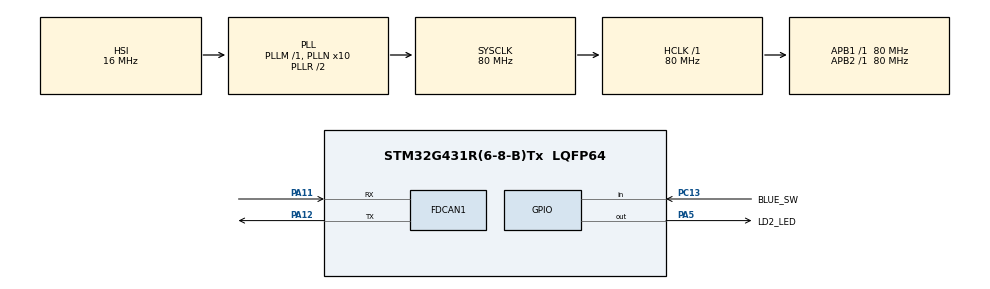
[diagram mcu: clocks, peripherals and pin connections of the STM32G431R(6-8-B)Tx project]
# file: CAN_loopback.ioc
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FDCAN1.AutoRetransmission=ENABLE
FDCAN1.ClockDivider=FDCAN_CLOCK_DIV1
FDCAN1.DataTimeSeg1=13
FDCAN1.DataTimeSeg2=2
FDCAN1.Mode=FDCAN_MODE_NORMAL
FDCAN1.NominalPrescaler=10
FDCAN1.NominalTimeSeg1=13
Mcu.Family=STM32G4
Mcu.Name=STM32G431R(6-8-B)Tx
Mcu.Package=LQFP64
NVIC.FDCAN1_IT0_IRQn=true\:0\:0\:false\:false\:true\:true\:true
NVIC.PriorityGroup=NVIC_PRIORITYGROUP_4
PA11.Mode=FDCANMaster
PA11.Signal=FDCAN1_RX
PA12.Mode=FDCANMaster
PA12.Signal=FDCAN1_TX
PA13.Mode=Serial_Wire
PA13.Signal=SYS_JTMS-SWDIO
PA14.Mode=Serial_Wire
PA14.Signal=SYS_JTCK-SWCLK
PA5.GPIO_Label=LD2_LED
PA5.Signal=GPIO_Output
PC13.GPIO_Label=BLUE_SW
PC13.Signal=GPIO_Input
ProjectManager.HeapSize=0x200
ProjectManager.StackSize=0x400
ProjectManager.TargetToolchain=STM32CubeIDE
RCC.ADC12Freq_Value=80000000
RCC.AHBFreq_Value=80000000
RCC.APB1Freq_Value=80000000
RCC.APB1TimFreq_Value=80000000
RCC.APB2Freq_Value=80000000
RCC.APB2TimFreq_Value=80000000
RCC.CortexFreq_Value=80000000
RCC.EXTERNAL_CLOCK_VALUE=12288000
RCC.HCLKFreq_Value=80000000
RCC.HSE_VALUE=24000000
RCC.HSI48_VALUE=48000000
RCC.HSI_VALUE=16000000
RCC.LSE_VALUE=32768
RCC.PLLN=10
RCC.RTCClockSelection=RCC_RTCCLKSOURCE_LSE
RCC.SYSCLKFreq_VALUE=80000000
RCC.SYSCLKSource=RCC_SYSCLKSOURCE_PLLCLK
RCC.USBFreq_Value=80000000
RCC.VCOOutputFreq_Value=160000000
VP_SYS_VS_DBSignals.Mode=DisableDeadBatterySignals
board=NUCLEO-G431RB

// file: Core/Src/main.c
/* USER CODE BEGIN Header */
/**
  ******************************************************************************
  * @file           : main.c
  * @brief          : Main program body
  ******************************************************************************
  * @attention
  *
  * <h2><center>&copy; Copyright (c) 2020 STMicroelectronics.
  * All rights reserved.</center></h2>
  *
  * This software component is licensed by ST under BSD 3-Clause license,
  * the "License"; You may not use this file except in compliance with the
  * License. You may obtain a copy of the License at:
  *                        opensource.org/licenses/BSD-3-Clause
  *
  ******************************************************************************
  */
/* USER CODE END Header */
#include "main.h"

/* USER CODE BEGIN Includes */
//#include "common.h"
#include "stm32g4xx_hal_fdcan.h"

#define 	A_NODE
/* USER CODE END Includes */

FDCAN_HandleTypeDef hfdcan1;

/* USER CODE BEGIN PV */
#define TX_FAST_TIMEOUT 	10
#define RX_FAST_TIMEOUT 	10
#define FDCAN_INTR_RESET 	RESET
#define FDCAN_INTR_SET		SET

_Bool isLedOn = true;
uint8_t count = 0;
char string[10];
volatile int32_t ITM_RxBuffer;

 uint32_t exist_or_not=2;

 GPIO_PinState  state, prev_state;

 HAL_StatusTypeDef Hal_Error_Code;

 uint32_t Tickstart;

/* USER CODE END PV */

void SystemClock_Config(void);
static void MX_GPIO_Init(void);
static void MX_FDCAN1_Init(void);
/* USER CODE BEGIN PFP */

void FDCAN_COMM_config_a(void);
void FDCAN_TX_Config_a(void);
void FDCAN_RX_Config_a(void);
void FDCAN_TX_a(FDCAN_HandleTypeDef *hfdcan);
void FDCAN_RX_a(void);
void Wait_Tx_Timeout(FDCAN_HandleTypeDef *hfdcan, uint32_t set_timeout);
int8_t Wait_Rx_Timeout(FDCAN_HandleTypeDef *hfdcan, uint32_t set_timeout);
//void HAL_FDCAN_RxFifo0Callback(FDCAN_HandleTypeDef *hfdcan, uint32_t RxFifo0ITs);

/* USER CODE END PFP */

/* USER CODE BEGIN 0 */
//uint8_t ubKeyNumber = 0x0;
FDCAN_RxHeaderTypeDef RxHeader;
uint8_t RxData[8];
FDCAN_TxHeaderTypeDef TxHeader;
uint8_t TxData[8];
HAL_StatusTypeDef FDCANErrCode;

/* USER CODE END 0 */

int main(void)
{

  /* MCU Configuration--------------------------------------------------------*/

  /* Reset of all peripherals, Initializes the Flash interface and the Systick. */
  HAL_Init();

  /* Configure the system clock */
  SystemClock_Config();

  /* Initialize all configured peripherals */
  MX_GPIO_Init();
  MX_FDCAN1_Init();

  /* Infinite loop */
  /* USER CODE BEGIN WHILE */
  while (1)
  {
	  HAL_GPIO_TogglePin(LD2_LED_GPIO_Port, LD2_LED_Pin);
	  isLedOn = !isLedOn;
	  count++;
	  if (count > 255)
		  count = 0;
	  printf("Hello world count = %d\n", (int)count);
	  HAL_Delay(1000);
    /* USER CODE END WHILE */

    /* USER CODE BEGIN 3 */
	  state=HAL_GPIO_ReadPin(BLUE_SW_GPIO_Port, BLUE_SW_Pin); //GPIO_PIN_SET
	  if ( prev_state ==GPIO_PIN_RESET && state == GPIO_PIN_SET)
	  {
	  	printf("Blue SW ON - Activate transmission through FDCAN\n");

	  }
	  prev_state=state;
  }
  /* USER CODE END 3 */
}

void SystemClock_Config(void)
{
  RCC_OscInitTypeDef RCC_OscInitStruct = {0};
  RCC_ClkInitTypeDef RCC_ClkInitStruct = {0};
  RCC_PeriphCLKInitTypeDef PeriphClkInit = {0};

  /** Configure the main internal regulator output voltage
  */
  HAL_PWREx_ControlVoltageScaling(PWR_REGULATOR_VOLTAGE_SCALE1);
  /** Initializes the RCC Oscillators according to the specified parameters
  * in the RCC_OscInitTypeDef structure.
  */
  RCC_OscInitStruct.OscillatorType = RCC_OSCILLATORTYPE_HSI;
  RCC_OscInitStruct.HSIState = RCC_HSI_ON;
  RCC_OscInitStruct.HSICalibrationValue = RCC_HSICALIBRATION_DEFAULT;
  RCC_OscInitStruct.PLL.PLLState = RCC_PLL_ON;
  RCC_OscInitStruct.PLL.PLLSource = RCC_PLLSOURCE_HSI;
  RCC_OscInitStruct.PLL.PLLM = RCC_PLLM_DIV1;
  RCC_OscInitStruct.PLL.PLLN = 10;
  RCC_OscInitStruct.PLL.PLLP = RCC_PLLP_DIV2;
  RCC_OscInitStruct.PLL.PLLQ = RCC_PLLQ_DIV2;
  RCC_OscInitStruct.PLL.PLLR = RCC_PLLR_DIV2;
  if (HAL_RCC_OscConfig(&RCC_OscInitStruct) != HAL_OK)
  {
    Error_Handler();
  }
  /** Initializes the CPU, AHB and APB buses clocks
  */
  RCC_ClkInitStruct.ClockType = RCC_CLOCKTYPE_HCLK|RCC_CLOCKTYPE_SYSCLK
                              |RCC_CLOCKTYPE_PCLK1|RCC_CLOCKTYPE_PCLK2;
  RCC_ClkInitStruct.SYSCLKSource = RCC_SYSCLKSOURCE_PLLCLK;
  RCC_ClkInitStruct.AHBCLKDivider = RCC_SYSCLK_DIV1;
  RCC_ClkInitStruct.APB1CLKDivider = RCC_HCLK_DIV1;
  RCC_ClkInitStruct.APB2CLKDivider = RCC_HCLK_DIV1;

  if (HAL_RCC_ClockConfig(&RCC_ClkInitStruct, FLASH_LATENCY_2) != HAL_OK)
  {
    Error_Handler();
  }
  /** Initializes the peripherals clocks
  */
  PeriphClkInit.PeriphClockSelection = RCC_PERIPHCLK_FDCAN;
  PeriphClkInit.FdcanClockSelection = RCC_FDCANCLKSOURCE_PCLK1;
  if (HAL_RCCEx_PeriphCLKConfig(&PeriphClkInit) != HAL_OK)
  {
    Error_Handler();
  }
}

static void MX_FDCAN1_Init(void)
{

  /* USER CODE BEGIN FDCAN1_Init 0 */
	/* Bit time configuration:
		 ************************
	            Bit time parameter         |   Nominal    |   Data
	            ---------------------------|--------------|--------------
	            fdcan_ker_ck               | 80 MHz       | 80 MHz
	            Time_quantum (tq)          | 16ns      	  | 16 ns
	            Prescaler                  |  10          |  10
	            Synchronization_segment    |  1 tq        |  1 tq
	            Propagation_segment        | 19 tq        |  5 tq
	            Phase_segment_1            | 13 tq        |  13 tq
	            Phase_segment_2            | 2 tq         |  2 tq
	            Synchronization_Jump_width | 1 tq         |  1 tq

	            Bit_rate                   |  500kBit/s    |  500 kBit/s
		 */

  /* USER CODE END FDCAN1_Init 0 */

  hfdcan1.Instance = FDCAN1;
  hfdcan1.Init.ClockDivider = FDCAN_CLOCK_DIV1;
  hfdcan1.Init.FrameFormat = FDCAN_FRAME_CLASSIC;
  hfdcan1.Init.Mode = FDCAN_MODE_NORMAL;
  hfdcan1.Init.AutoRetransmission = ENABLE;
  hfdcan1.Init.TransmitPause = DISABLE;
  hfdcan1.Init.ProtocolException = DISABLE;
  hfdcan1.Init.NominalPrescaler = 10;
  hfdcan1.Init.NominalSyncJumpWidth = 1;
  hfdcan1.Init.NominalTimeSeg1 = 13;
  hfdcan1.Init.NominalTimeSeg2 = 2;
  hfdcan1.Init.DataPrescaler = 1;
  hfdcan1.Init.DataSyncJumpWidth = 1;
  hfdcan1.Init.DataTimeSeg1 = 13;
  hfdcan1.Init.DataTimeSeg2 = 2;
  hfdcan1.Init.StdFiltersNbr = 0;
  hfdcan1.Init.ExtFiltersNbr = 0;
  hfdcan1.Init.TxFifoQueueMode = FDCAN_TX_FIFO_OPERATION;
  if (HAL_FDCAN_Init(&hfdcan1) != HAL_OK)
  {
    Error_Handler();
  }
  /* USER CODE BEGIN FDCAN1_Init 2 */
  Hal_Error_Code = HAL_FDCAN_Init(&hfdcan1);
    if (Hal_Error_Code != HAL_OK)
    {
    	printf("HAL_FDCAN_Init() %d\n", (int)Hal_Error_Code);
    	Error_Handler();
    }

    printf("HAL_FDCAN_Init() OK\n");

    FDCAN_COMM_config_a();

  /* USER CODE END FDCAN1_Init 2 */

}

static void MX_GPIO_Init(void)
{
  GPIO_InitTypeDef GPIO_InitStruct = {0};

  /* GPIO Ports Clock Enable */
  __HAL_RCC_GPIOC_CLK_ENABLE();
  __HAL_RCC_GPIOA_CLK_ENABLE();

  /*Configure GPIO pin Output Level */
  HAL_GPIO_WritePin(LD2_LED_GPIO_Port, LD2_LED_Pin, GPIO_PIN_RESET);

  /*Configure GPIO pin : BLUE_SW_Pin */
  GPIO_InitStruct.Pin = BLUE_SW_Pin;
  GPIO_InitStruct.Mode = GPIO_MODE_INPUT;
  GPIO_InitStruct.Pull = GPIO_NOPULL;
  HAL_GPIO_Init(BLUE_SW_GPIO_Port, &GPIO_InitStruct);

  /*Configure GPIO pin : LD2_LED_Pin */
  GPIO_InitStruct.Pin = LD2_LED_Pin;
  GPIO_InitStruct.Mode = GPIO_MODE_OUTPUT_PP;
  GPIO_InitStruct.Pull = GPIO_NOPULL;
  GPIO_InitStruct.Speed = GPIO_SPEED_FREQ_LOW;
  HAL_GPIO_Init(LD2_LED_GPIO_Port, &GPIO_InitStruct);

}

/* USER CODE BEGIN 4 */
/* Interrupts from FIFO-0 and FDCAN-RX
 * Interrupt sources - (FDCAN_IT_RX_FIFO0_MESSAGE_LOST | FDCAN_IT_RX_FIFO0_FULL | FDCAN_IT_RX_FIFO0_NEW_MESSAGE)
 *
 */
void FDCAN_Setup_RX_InterruptL0(FDCAN_HandleTypeDef *hfdcan) {

	HAL_StatusTypeDef status;

	status = HAL_FDCAN_ConfigInterruptLines(hfdcan, FDCAN_IT_LIST_RX_FIFO0, FDCAN_INTERRUPT_LINE0);

	if (status!= HAL_OK) {
		printf("HAL_FDCAN_ConfigInterruptLines() %d\n", (int)status);
				Error_Handler();
	}

	printf("HAL_FDCAN_ConfigInterruptLines() Ok\n");

}

void FDCAN_Enable_RX_InterrptL0 (FDCAN_HandleTypeDef *hfdcan)
{

	FDCANErrCode = HAL_FDCAN_ActivateNotification(hfdcan, FDCAN_IT_RX_FIFO0_NEW_MESSAGE | FDCAN_IT_RX_FIFO0_FULL, FDCAN_RX_FIFO0 | FDCAN_RX_FIFO1 );
	if(FDCANErrCode != HAL_OK)
	{
		printf("HAL_FDCAN_ActivateNotification() %d\n", (int)Hal_Error_Code);
		Error_Handler();
	}

	printf("HAL_FDCAN_ActivateNotification() OK\n");
}

void FDCAN_COMM_config_a(void)
{

	FDCAN_RX_Config_a();

	//Setup FDCAN RX interrupt
//	FDCAN_Setup_RX_InterruptL0(&hfdcan1);

#if 0
	// Register callback HAL_FDCAN_RegisterCallback
		FDCANErrCode = HAL_FDCAN_RegisterCallback(&hfdcan1,FDCAN_IT_RX_FIFO0_NEW_MESSAGE, (void*)HAL_FDCAN_RxFifo0Callback);
		if(FDCANErrCode != HAL_OK)
		{
			printf("HAL_CAN_RegisterCallback() %d\n", (int)Hal_Error_Code);
			Error_Handler();
		}

		printf("HAL_CAN_RegisterCallback() OK\n");

#endif
	// Activate the FDCAN peripheral
	FDCANErrCode = HAL_FDCAN_Start(&hfdcan1);
	if(FDCANErrCode != HAL_OK)
	{
		printf("HAL_FDCAN_Start() %d\n", (int)Hal_Error_Code);
		Error_Handler();
	}

	printf("HAL_FDCAN_Start() OK\n");

	FDCAN_Enable_RX_InterrptL0 (&hfdcan1);

}

void FDCAN_RX_Config_a()
{

	FDCAN_FilterTypeDef sFilterConfig;

	sFilterConfig.IdType = FDCAN_STANDARD_ID;
	sFilterConfig.FilterIndex = 0;
	sFilterConfig.FilterType = FDCAN_FILTER_MASK;
	sFilterConfig.FilterConfig = FDCAN_FILTER_TO_RXFIFO0;
	sFilterConfig.FilterID1 = 0x321;   // Read back its own message
	sFilterConfig.FilterID2 = 0x7FF;   // Mask off the entire MASK 11-bit registry

	FDCANErrCode = HAL_FDCAN_ConfigFilter(&hfdcan1, &sFilterConfig);
	if(FDCANErrCode != HAL_OK)
	{
		printf("HAL_FDCAN_ConfigFilter() %d\n", (int)FDCANErrCode);
		Error_Handler();
	}

	printf("HAL_FDCAN_ConfigFilter() OK\n");

#if 0   // after running this code, it caused the external loopback failed
	FDCANErrCode = HAL_FDCAN_ConfigGlobalFilter(&hfdcan1, FDCAN_REJECT, FDCAN_REJECT, FDCAN_FILTER_REMOTE, FDCAN_FILTER_REMOTE);
	if(FDCANErrCode != HAL_OK)
	{
		printf("HAL_FDCAN_ConfigGlobalFilter() %d\n", (int)FDCANErrCode);
		Error_Handler();
	}
	printf("HAL_FDCAN_ConfigGlobalFilter() OK\n");
#endif
	// Proceed to call FDCAN_config_a()

}

void FDCAN_TX_Config_a(void)
{

	/* Prepare Tx Header */
	TxHeader.Identifier = 0x321;
	TxHeader.IdType = FDCAN_STANDARD_ID;
	TxHeader.TxFrameType = FDCAN_DATA_FRAME;
	TxHeader.DataLength = FDCAN_DLC_BYTES_1;
	TxHeader.ErrorStateIndicator = FDCAN_ESI_ACTIVE;
	TxHeader.BitRateSwitch = FDCAN_BRS_OFF;
	TxHeader.FDFormat = FDCAN_CLASSIC_CAN;
	TxHeader.TxEventFifoControl = FDCAN_NO_TX_EVENTS;
	TxHeader.MessageMarker = 0;

}

void FDCAN_TX_a(FDCAN_HandleTypeDef *hfdcan)
{

	/* Set the data to be transmitted */
	TxData[0] = 0xA5;
	TxData[1] = 0xAD;
	TxData[2] = 0xDE;
	TxData[3] = 0xAD;
	TxData[4] = 0xBE;
	TxData[5] = 0xEF;
	TxData[6] = 0xFA;
	TxData[7] = 0xCE;

	/* Start the Transmission process */
	FDCANErrCode = HAL_FDCAN_AddMessageToTxFifoQ(&hfdcan1, &TxHeader, &TxData[0]);
	 if (FDCANErrCode != HAL_OK)
	 {
		 printf("HAL_FDCAN_AddMessageToTxFifoQ() failed at error code = %d\n", FDCANErrCode);
		 /* Transmission request Error */
		 Error_Handler();
	 }

	 printf("HAL_FDCAN_AddMessageToTxFifoQ: %d\n\n", (int)count);

}

void Wait_Tx_Timeout(FDCAN_HandleTypeDef *hfdcan, uint32_t set_timeout) {

	uint32_t aTickstart = 0;    /* 10 */
	uint32_t aTotalTick = 0;

	  /* Get tick */
	  aTickstart = HAL_GetTick();

	  /* Check transmission occurred before timeout */
	  while(HAL_FDCAN_IsTxBufferMessagePending(hfdcan, FDCAN_TX_BUFFER0) != 0)
	  {
		  aTotalTick = HAL_GetTick() - aTickstart;
	    if( aTotalTick > set_timeout)
	    {
	      printf("HAL_FDCAN_IsTxBufferMessagePending() timeout\n");
	      Error_Handler();
	      break;
	    }
	  }
	  printf("HAL_FDCAN_IsTxBufferMessagePending() time take %d\n", (int)aTotalTick);
}

int8_t Wait_Rx_Timeout(FDCAN_HandleTypeDef *hfdcan, uint32_t set_timeout) {
	  uint32_t aTickstart = 0;    /* 10 */
	  uint32_t aTotalTick = 0;
	  int8_t err = 0;

	  /* Get tick */
	  aTickstart = HAL_GetTick();

	  /* Check one message is received in Rx FIFO 0 */
	  while(HAL_FDCAN_GetRxFifoFillLevel(hfdcan, FDCAN_RX_FIFO0) == 0)
	  {
		  aTotalTick = HAL_GetTick() - aTickstart;
		  if( aTotalTick > set_timeout)
		  {
	  	      printf("HAL_FDCAN_GetRxFifoFillLevel() timeout\n");
	  	      //Error_Handler();
	  	      err = 1;
	  	      break;
		  }
	  }
	  printf("HAL_FDCAN_GetRxFifoFillLevel() time take %d\n", (int)aTotalTick);
	  return err;

}

// typedef  void (*pFDCAN_RxFifo0CallbackTypeDef)(FDCAN_HandleTypeDef *hfdcan, uint32_t RxFifo0ITs);     /*!< pointer to Rx Fifo 0 FDCAN callback function          */
/**
 *
  * HAL_FDCAN_RxFifo0Callback()
  * @brief  Rx FIFO 0 callback.
  * @param  hfdcan: pointer to an FDCAN_HandleTypeDef structure that contains
  *         the configuration information for the specified FDCAN.
  * @param  RxFifo0ITs: indicates which Rx FIFO 0 interrupts are signaled.
  *                     This parameter can be any combination of @arg FDCAN_Rx_Fifo0_Interrupts.
  * @retval None
  */

/**
  * @brief  Rx FIFO 0 callback.
  * @param  hfdcan: pointer to an FDCAN_HandleTypeDef structure that contains
  *         the configuration information for the specified FDCAN.
  * @param  RxFifo0ITs: indicates which Rx FIFO 0 interrupts are signalled.
  *         This parameter can be any combination of @arg FDCAN_Rx_Fifo0_Interrupts.
  * @retval None
  */

void  HAL_FDCAN_RxFifo0Callback(FDCAN_HandleTypeDef *hfdcan, uint32_t RxFifo0ITs)
{

	 if((RxFifo0ITs & FDCAN_IT_RX_FIFO0_NEW_MESSAGE) != RESET)
	  {
		  /* Retreive Rx messages from RX FIFO0 */
		  FDCANErrCode = HAL_FDCAN_GetRxMessage(hfdcan, FDCAN_RX_FIFO0, &RxHeader, RxData);
		  if (FDCANErrCode != HAL_OK)
		  {
			  /* Reception Error */
			  printf("HAL_FDCAN_GetRxMessage() error code = %d\n", FDCANErrCode);

			  Error_Handler();

		  }
		  printf("HAL_FDCAN_GetRxMessage() -- meeee callback\n");

		  printf("RxHeader.Identifier = 0x%x RxHeader.IdType = 0x%x RxHeader.DataLength = 0x%d\n", (unsigned int)RxHeader.Identifier, (unsigned int)RxHeader.IdType, (unsigned int)(RxHeader.DataLength >> 16));
		  /* Display the messages */
		  if ((RxHeader.Identifier == 0x321) && (RxHeader.IdType == FDCAN_STANDARD_ID) && (RxHeader.DataLength == FDCAN_DLC_BYTES_1))
		  {
			  //State=RxData[0];
			  //printf("RxHd ID = 0x321 and Rxdata =  0x%x 0x%x 0x%x 0x%x 0x%x 0x%x 0x%x 0x%x\n", RxData[0], RxData[1], RxData[2], RxData[3],RxData[4], RxData[5],RxData[6], RxData[7]);
			  printf("RdDataLength %d , RxData 0x%x\n", (int)(RxHeader.DataLength >> 16), (unsigned int)RxData[0]);
		  }

		//  FDCAN_Enable_RX_InterrptL0 (hfdcan);

	  }
}

/* USER CODE END 4 */

void Error_Handler(void)
{
  /* USER CODE BEGIN Error_Handler_Debug */
  /* User can add his own implementation to report the HAL error return state */
    printf("Error Handle - endless loop. STOP DEBUG Mode\n");
	while (1) {

	}
  /* USER CODE END Error_Handler_Debug */
}

/************************ (C) COPYRIGHT STMicroelectronics *****END OF FILE****/
